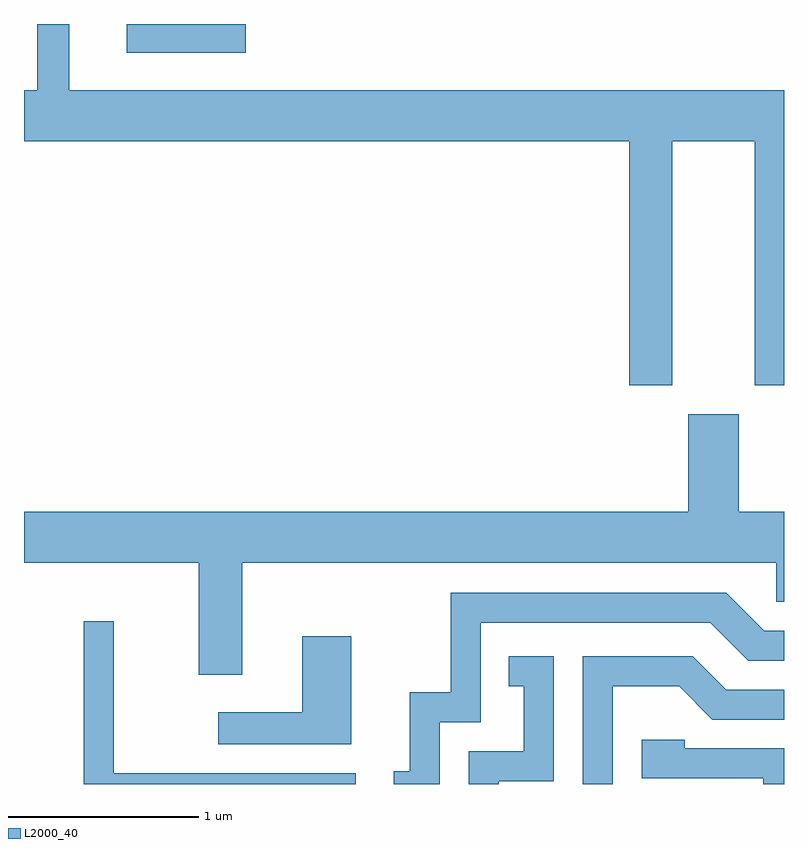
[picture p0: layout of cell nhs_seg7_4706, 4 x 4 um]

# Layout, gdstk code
import gdstk
lib = gdstk.Library(unit=1e-6, precision=1e-09)
def R(c, l, rs):  # rectangles x0, y0, x1, y1
    for r in rs: c.add(gdstk.rectangle(r[:2], r[2:], *l))
def P(c, l, *ps):  # polygons
    for p in ps: c.add(gdstk.Polygon(p, *l))
L2000_40 = (2000, 40)

nhs_seg7_4706 = lib.new_cell('nhs_seg7_4706')
R(nhs_seg7_4706, L2000_40, [(330.151,1728.101,330.779,1728.252)])
P(nhs_seg7_4706, L2000_40, [(333.024,1727.636),(333.456,1727.636),(333.456,1726.351),(333.611,1726.351),(333.611,1727.904),(329.849,1727.904),(329.849,1728.252),(329.681,1728.252),(329.681,1727.904),(329.611,1727.904),(329.611,1727.636),(332.796,1727.636),(332.796,1726.351),(333.024,1726.351)],
  [(330.759,1725.416),(333.571,1725.416),(333.571,1725.211),(333.611,1725.211),(333.611,1725.684),(333.374,1725.684),(333.374,1726.199),(333.106,1726.199),(333.106,1725.684),(329.611,1725.684),(329.611,1725.416),(330.531,1725.416),(330.531,1724.826),(330.759,1724.826)],
  [(331.799,1724.576),(332.014,1724.576),(332.014,1725.101),(333.224,1725.101),(333.424,1724.901),(333.611,1724.901),(333.611,1725.059),(333.507,1725.059),(333.307,1725.259),(331.856,1725.259),(331.856,1724.734),(331.641,1724.734),(331.641,1724.319),(331.558,1724.319),(331.558,1724.252),(331.799,1724.252)],
  [(331.358,1724.309),(330.084,1724.309),(330.084,1725.108),(329.926,1725.108),(329.926,1724.252),(331.358,1724.252)],
  [(331.334,1725.029),(331.076,1725.029),(331.076,1724.629),(330.633,1724.629),(330.633,1724.461),(331.334,1724.461)],
  [(332.109,1724.266),(332.399,1724.266),(332.399,1724.924),(332.163,1724.924),(332.163,1724.766),(332.241,1724.766),(332.241,1724.424),(331.951,1724.424),(331.951,1724.252),(332.109,1724.252)],
  [(332.709,1724.766),(333.059,1724.766),(333.234,1724.591),(333.611,1724.591),(333.611,1724.749),(333.307,1724.749),(333.132,1724.924),(332.551,1724.924),(332.551,1724.252),(332.709,1724.252)],
  [(333.611,1724.439),(333.089,1724.439),(333.089,1724.484),(332.861,1724.484),(332.861,1724.281),(333.501,1724.281),(333.501,1724.252),(333.611,1724.252)])

lib.write_gds('nhs_seg7_4706.gds')
